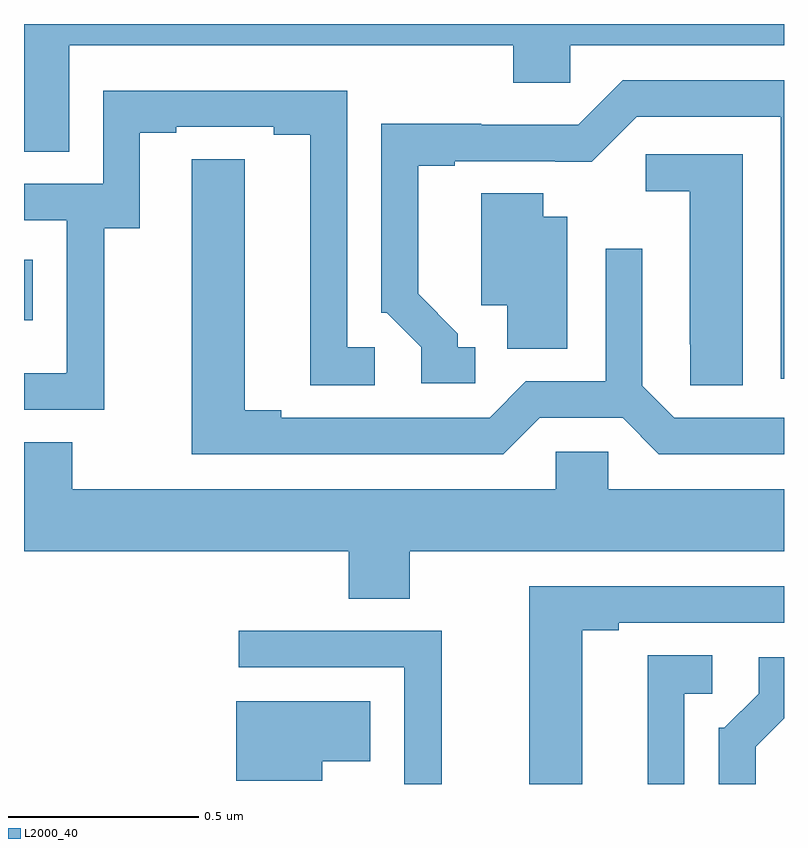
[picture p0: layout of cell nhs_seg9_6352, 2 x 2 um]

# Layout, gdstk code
import gdstk
lib = gdstk.Library(unit=1e-6, precision=1e-09)
def R(c, l, rs):  # rectangles x0, y0, x1, y1
    for r in rs: c.add(gdstk.rectangle(r[:2], r[2:], *l))
def P(c, l, *ps):  # polygons
    for p in ps: c.add(gdstk.Polygon(p, *l))
L2000_40 = (2000, 40)

nhs_seg9_6352 = lib.new_cell('nhs_seg9_6352')
R(nhs_seg9_6352, L2000_40, [(191,1171.721,191.023,1171.879)])
P(nhs_seg9_6352, L2000_40, [(191.119,1172.444),(192.287,1172.444),(192.287,1172.346),(192.438,1172.346),(192.438,1172.444),(193,1172.444),(193,1172.5),(191,1172.5),(191,1172.164),(191.119,1172.164)],
  [(192.187,1171.65),(192.142,1171.65),(192.142,1171.685),(192.037,1171.79),(192.037,1172.127),(192.133,1172.127),(192.133,1172.139),(192.398,1172.139),(192.398,1172.138),(192.494,1172.138),(192.612,1172.256),(192.992,1172.256),(192.992,1171.566),(193,1171.566),(193,1172.352),(192.576,1172.352),(192.459,1172.235),(192.203,1172.235),(192.203,1172.237),(191.94,1172.237),(191.94,1171.74),(191.955,1171.74),(192.045,1171.65),(192.045,1171.554),(192.187,1171.554)],
  [(191.211,1171.963),(191.305,1171.963),(191.305,1172.214),(191.401,1172.214),(191.401,1172.229),(191.657,1172.229),(191.657,1172.209),(191.753,1172.209),(191.753,1171.549),(191.923,1171.549),(191.923,1171.65),(191.85,1171.65),(191.85,1172.325),(191.208,1172.325),(191.208,1172.079),(191,1172.079),(191,1171.983),(191.112,1171.983),(191.112,1171.582),(191.111,1171.582),(191.111,1171.581),(191,1171.581),(191,1171.485),(191.211,1171.485)],
  [(192.892,1172.157),(192.636,1172.157),(192.636,1172.06),(192.752,1172.06),(192.752,1171.657),(192.753,1171.657),(192.753,1171.549),(192.892,1171.549)],
  [(192.357,1171.464),(192.575,1171.464),(192.671,1171.368),(193,1171.368),(193,1171.464),(192.711,1171.464),(192.627,1171.548),(192.627,1171.909),(192.531,1171.909),(192.531,1171.56),(192.321,1171.56),(192.225,1171.464),(191.677,1171.464),(191.677,1171.484),(191.581,1171.484),(191.581,1172.144),(191.442,1172.144),(191.442,1172.036),(191.441,1172.036),(191.441,1171.368),(192.261,1171.368)],
  [(192.43,1171.993),(192.367,1171.993),(192.367,1172.054),(192.203,1172.054),(192.203,1171.76),(192.272,1171.76),(192.272,1171.645),(192.43,1171.645)],
  [(192.015,1171.112),(193,1171.112),(193,1171.276),(192.537,1171.276),(192.537,1171.374),(192.399,1171.374),(192.399,1171.276),(191.127,1171.276),(191.127,1171.4),(191,1171.4),(191,1171.112),(191.855,1171.112),(191.855,1170.988),(192.015,1170.988)],
  [(192.469,1170.904),(192.565,1170.904),(192.565,1170.924),(193,1170.924),(193,1171.02),(192.329,1171.02),(192.329,1170.5),(192.469,1170.5)],
  [(192.099,1170.903),(191.565,1170.903),(191.565,1170.807),(192,1170.807),(192,1170.5),(192.099,1170.5)],
  [(192.738,1170.738),(192.811,1170.738),(192.811,1170.839),(192.641,1170.839),(192.641,1170.5),(192.738,1170.5)],
  [(192.925,1170.598),(193,1170.673),(193,1170.834),(192.933,1170.834),(192.933,1170.738),(192.843,1170.648),(192.828,1170.648),(192.828,1170.5),(192.925,1170.5)],
  [(191.785,1170.56),(191.911,1170.56),(191.911,1170.718),(191.558,1170.718),(191.558,1170.509),(191.785,1170.509)])

lib.write_gds('nhs_seg9_6352.gds')
